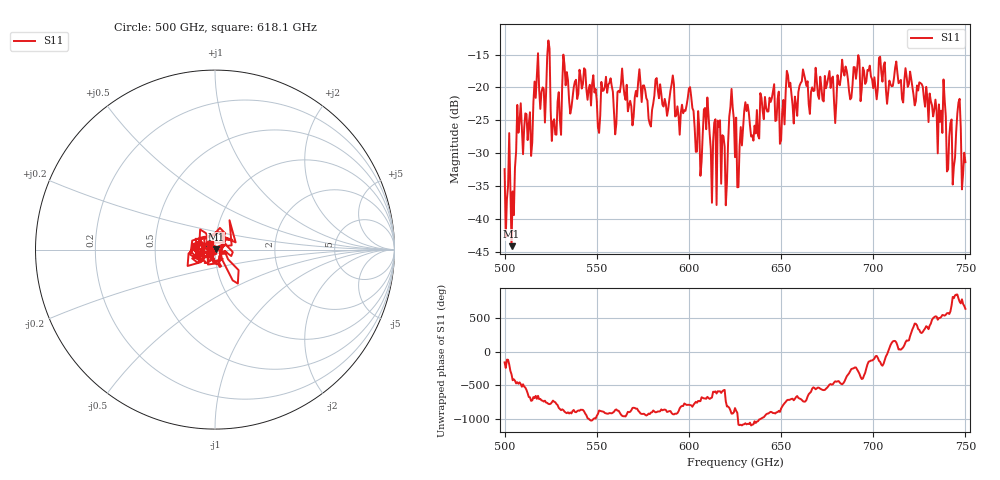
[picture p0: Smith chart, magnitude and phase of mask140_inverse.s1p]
!Created with skrf (http://scikit-rf.org).
# GHz S MA R 50.0
!freq magS11 angS11
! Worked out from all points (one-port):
!   401 points, 500 GHz to 750 GHz, reference 50 ohm
!   lowest |S11| = -44.2 dB at 503.8 GHz (marker M1), VSWR 1.01, Z = 50.6 + j0.265 ohm
!   |S11| at or under -10 dB: start of sweep to end of sweep
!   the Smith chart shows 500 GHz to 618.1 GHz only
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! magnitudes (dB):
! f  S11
! 500 GHz  -32.4
! 503.8 GHz  -44.2
! 507.5 GHz  -26.9
! 513.8 GHz  -23.8
! 517.5 GHz  -18.3
! 520.6 GHz  -20.0
! 523.8 GHz  -12.8
! 526.9 GHz  -24.8
! 531.2 GHz  -19.7
! 550.6 GHz  -26.0
! 562.5 GHz  -20.7
! 579.4 GHz  -25.9
! 590.6 GHz  -19.5
! 593.8 GHz  -22.9
! 600.6 GHz  -20.0
! 605 GHz  -23.6
! 609.4 GHz  -26.4
! 613.8 GHz  -25.3
! 620 GHz  -37.9
! 623.1 GHz  -20.2
! 625 GHz  -30.6
! 656.2 GHz  -22.7
! 687.5 GHz  -21.8
! 718.8 GHz  -19.9
! 738.1 GHz  -18.8
! 743.8 GHz  -32.1
! 746.2 GHz  -22.3
! 750 GHz  -31.4
